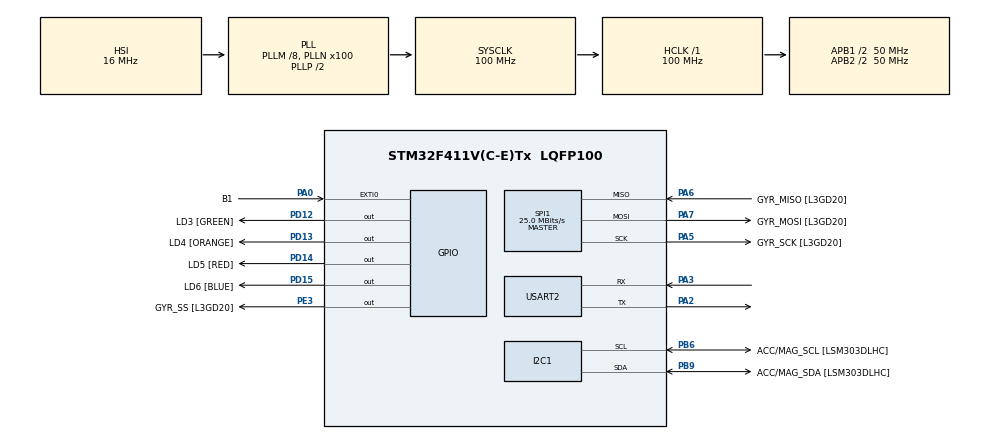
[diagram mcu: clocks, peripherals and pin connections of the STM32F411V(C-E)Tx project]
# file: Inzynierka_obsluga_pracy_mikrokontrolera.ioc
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I2C1.I2C_Mode=I2C_Fast
Mcu.Family=STM32F4
Mcu.Name=STM32F411V(C-E)Tx
Mcu.Package=LQFP100
NVIC.PriorityGroup=NVIC_PRIORITYGROUP_0
NVIC.TIM1_TRG_COM_TIM11_IRQn=true\:0\:0\:false\:false\:true\:true\:true
NVIC.USART2_IRQn=true\:0\:0\:false\:false\:true\:true\:true
PA0-WKUP.GPIO_Label=B1
PA0-WKUP.GPIO_ModeDefaultEXTI=GPIO_MODE_IT_RISING_FALLING
PA0-WKUP.Signal=GPXTI0
PA2.Mode=Asynchronous
PA2.Signal=USART2_TX
PA3.Mode=Asynchronous
PA3.Signal=USART2_RX
PA5.GPIO_Label=GYR_SCK [L3GD20]
PA5.Mode=Full_Duplex_Master
PA5.Signal=SPI1_SCK
PA6.GPIO_Label=GYR_MISO [L3GD20]
PA6.Mode=Full_Duplex_Master
PA6.Signal=SPI1_MISO
PA7.GPIO_Label=GYR_MOSI [L3GD20]
PA7.Mode=Full_Duplex_Master
PA7.Signal=SPI1_MOSI
PB6.GPIO_Label=ACC/MAG_SCL [LSM303DLHC]
PB6.Mode=I2C
PB6.Signal=I2C1_SCL
PB9.GPIO_Label=ACC/MAG_SDA [LSM303DLHC]
PB9.Mode=I2C
PB9.Signal=I2C1_SDA
PC14-OSC32_IN.Mode=LSE-External-Oscillator
PC14-OSC32_IN.Signal=RCC_OSC32_IN
PC15-OSC32_OUT.Mode=LSE-External-Oscillator
PC15-OSC32_OUT.Signal=RCC_OSC32_OUT
PD12.GPIO_Label=LD3 [GREEN]
PD12.Signal=GPIO_Output
PD13.GPIO_Label=LD4 [ORANGE]
PD13.Signal=GPIO_Output
PD14.GPIO_Label=LD5 [RED]
PD14.Signal=GPIO_Output
PD15.GPIO_Label=LD6 [BLUE]
PD15.Signal=GPIO_Output
PE3.GPIO_Label=GYR_SS [L3GD20]
PE3.Signal=GPIO_Output
PH0\ -\ OSC_IN.Mode=HSE-External-Clock-Source
PH0\ -\ OSC_IN.Signal=RCC_OSC_IN
PH1\ -\ OSC_OUT.Mode=HSE-External-Clock-Source
PH1\ -\ OSC_OUT.Signal=RCC_OSC_OUT
ProjectManager.HeapSize=0x200
ProjectManager.StackSize=0x400
ProjectManager.TargetToolchain=STM32CubeIDE
RCC.48MHZClocksFreq_Value=25000000
RCC.AHBFreq_Value=100000000
RCC.APB1CLKDivider=RCC_HCLK_DIV2
RCC.APB1Freq_Value=50000000
RCC.APB1TimFreq_Value=100000000
RCC.APB2CLKDivider=RCC_HCLK_DIV2
RCC.APB2Freq_Value=50000000
RCC.APB2TimFreq_Value=100000000
RCC.CortexFreq_Value=100000000
RCC.HCLKFreq_Value=100000000
RCC.HSE_VALUE=8000000
RCC.HSI_VALUE=16000000
RCC.PLLI2SM=5
RCC.PLLI2SN=200
RCC.PLLM=8
RCC.PLLN=100
RCC.PLLQ=8
RCC.SYSCLKFreq_VALUE=100000000
RCC.SYSCLKSource=RCC_SYSCLKSOURCE_PLLCLK
RCC.VCOOutputFreq_Value=200000000
SPI1.CalculateBaudRate=25.0 MBits/s
SPI1.Direction=SPI_DIRECTION_2LINES
SPI1.Mode=SPI_MODE_MASTER
SPI1.VirtualType=VM_MASTER
TIM11.Period=199
TIM11.Prescaler=9999
USART2.VirtualMode=VM_ASYNC
VP_TIM11_VS_ClockSourceINT.Mode=Enable_Timer
board=STM32F411E-DISCO

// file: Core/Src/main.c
/* USER CODE BEGIN Header */
/**
  ******************************************************************************
  * @file           : main.c
  * @brief          : Main program body
  ******************************************************************************
  * @attention
  *
  * <h2><center>&copy; Copyright (c) 2020 STMicroelectronics.
  * All rights reserved.</center></h2>
  *
  * This software component is licensed by ST under BSD 3-Clause license,
  * the "License"; You may not use this file except in compliance with the
  * License. You may obtain a copy of the License at:
  *                        opensource.org/licenses/BSD-3-Clause
  *
  ******************************************************************************
  */
/* USER CODE END Header */
#include "main.h"
#include "i2c.h"
#include "spi.h"
#include "tim.h"
#include "usart.h"
#include "gpio.h"

/* USER CODE BEGIN Includes */
#include <stdio.h>
#include <limits.h>
#include <math.h>
#include <string.h>
/* USER CODE END Includes */

/* USER CODE BEGIN PD */

//ZYROSKOP
#define GYR_REG1_A 0x20
#define GYR_USTAWIENIA 0x0F
#define GYR_MULTIREAD 0x40
#define GYR_READ 0x80
#define GYR_SCZYTANIE_POCZATEK 0x28
#define GYR_WSZYSTKIE_OSIE (GYR_READ | GYR_MULTIREAD | GYR_SCZYTANIE_POCZATEK)

//AKCELEROMETR
#define ACC_USTAWIENIA 0x57
#define ACC_ADRES (0x19 << 1)
#define ACC_CTRL_REG1_A 0x20
#define ACC_CTRL_REG4_A 0x23
#define ACC_SCZYTANIE_POCZATEK 0x28
#define ACC_MULTI_READ 0x80
#define ACC_WSZYSTKIE_OSIE (ACC_MULTI_READ | ACC_SCZYTANIE_POCZATEK)
#define ACC_SET_4G 0x10

//MAGNETOMETR
#define MAG_ADRES 0x3C
#define MAG_CRB_REG 0x01
#define MAG_CRA_REG 0x00
#define MAG_MR_REG 0x02
#define MAG_ZAKRES 0x80
#define MAG_USTAWIENIA 0x00
#define MAG_SCZYTANIE_POCZATEK 0x03
#define MAG_WSZYSTKIE_OSIE (ACC_MULTI_READ | MAG_SCZYTANIE_POCZATEK)
#define MAG_CZESTOTLIWOSC 0x18

/* USER CODE END PD */

/* USER CODE BEGIN PV */
int8_t Wiadomosc[200]; // Zmienna pomocnicza sluzaca do przesylania informacji z mikrokontrolera do PC
int16_t Rozmiar; // Zmienna pomocnicza przechowujaca rozmiar przesylanej informacji
uint8_t Dane[6]; // Tablica pomocnicza do obslugi pobierania danych z urzadzen

float X_a = 0; // Zawiera przyspieszenie w osi OX w jednostce g - przyspieszenia ziemskiego
float Y_a = 0; // Zawiera przyspieszenie w osi OY w jednostce g - przyspieszenia ziemskiego
float Z_a = 0; // Zawiera przyspieszenie w osi OZ w jednostce g - przyspieszenia ziemskiego

float X_mem = 0; // Poprzednia wartość przyspieszenia w osi OX
float Y_mem = 0; // Poprzednia wartość przyspieszenia w osi OY
float Z_mem = 0; // Poprzednia wartość przyspieszenia w osi OZ

float X_roznica = 0; // Przechowywuje roznice przyspieszenia w osi OX
float Y_roznica = 0; // Przechowywuje roznice przyspieszenia w osi OY
float Z_roznica = 0; // Przechowywuje roznice przyspieszenia w osi OZ

float X_m = 0; // Zawiera pole magnetyczne w osi OX w jednostce G - gauss
float Y_m = 0; // Zawiera pole magnetyczne w osi OY w jednostce G - gauss
float Z_m = 0; // Zawiera pole magnetyczne w osi OZ w jednostce G - gauss

float X_g = 0; // Zawiera predkosc katowa w osi OX w stopniach
float Y_g = 0; // Zawiera predkosc katowa w osi OY w stopniach
float Z_g = 0; // Zawiera predkosc katowa w osi OZ w stopniach

/* USER CODE END PV */

void SystemClock_Config(void);

/* USER CODE BEGIN 0 */
volatile int flaga = 0; //zmienna pomocnicza do obslugi przerwan z timera 11

void HAL_TIM_PeriodElapsedCallback (TIM_HandleTypeDef* htim)
{
/*
 * Reimplementacja HAL_TIM_PeriodElapsedCallback w celu uchwycenia
 * przerwania pochodzacego od timera nr 11
 */
	if(htim == &htim11){
		flaga = 1;
	}
}

void Setup_L3GD20(SPI_HandleTypeDef* spi){
/*
 * Komunikacje SPI z L3GD20 rozpoczynamy poprzez ustawienie
 * pinu GYR_SS w stan niski. Potem przesylamy do zyroskopu
 * informacje na temat rejestru, ktory chcemy edytowac, a nastepnie na temat
 * jego trybu pracy, z zakresem pomiarowy
 * na +-250 stopni. Na koniec zamykamy komunikacje poprzez ustawienie
 * pinu GYR_SS w stan wysoki.
 */
	uint8_t tmp;

	//Rozpoczecie komunikacji spi z zyroskopem
	HAL_GPIO_WritePin(GYR_SS_GPIO_Port, GYR_SS_Pin, GPIO_PIN_RESET);

	//Uruchomienie zyroskopu
	tmp = GYR_REG1_A;
	HAL_SPI_Transmit(spi, &tmp, 1, 100);

	//Zmiana zakresu pomiarow na +-250 stopni
	tmp = GYR_USTAWIENIA;
	HAL_SPI_Transmit(spi, &tmp, 1, 100);

	HAL_GPIO_WritePin(GYR_SS_GPIO_Port, GYR_SS_Pin, GPIO_PIN_SET);
	HAL_Delay(100);
}

void L3GD20_MultiRead(SPI_HandleTypeDef* spi){
/*
 * Odczytanie danych z wszystkich trzech osi przy pomocy protokolu
 * komunikacyjnego SPI omowionego w ramach funkcji Setup_L3GD20.
 */
	uint8_t tmp;

	//Rozpoczecie komunikacji spi z zyroskopem
	HAL_GPIO_WritePin(GYR_SS_GPIO_Port, GYR_SS_Pin, GPIO_PIN_RESET);

	//Sczytanie wartosci wskazan trzech osi na raz (6 bajtow = 3x(mlodszy i starszy bajt))
	tmp = GYR_WSZYSTKIE_OSIE; //Adres wraz z multireadem
	HAL_SPI_Transmit(spi, &tmp, 1, 100);
	HAL_SPI_Receive(spi, Dane, 6, 100); //Odebranie danych z zyroskopu

	//Zakonczenie komunikacji spi z zyroskopem
	HAL_GPIO_WritePin(GYR_SS_GPIO_Port, GYR_SS_Pin, GPIO_PIN_SET);
}

void Setup_AKCELEROMETR()
{
/*
 * Uruchomienie akcelerometru w trzech osiach, zmiana czestotliwosci jego dzialania na 100Hz,
 * zmiana zakresu pomiarowego z +-2g na +-4g - jednostek przyspieszenia ziemskiego
 */
	uint8_t tmp = ACC_USTAWIENIA;

	//AKCELEROMETR - aktywacja, 100Hz, osie XYZ
	HAL_I2C_Mem_Write(&hi2c1, ACC_ADRES, ACC_CTRL_REG1_A, 1, &tmp, 1, 100);

	//AKCELEROMETR - zmiana zakresu pomiarowego z +-2g na +-4g
	tmp = ACC_SET_4G;
	HAL_I2C_Mem_Write(&hi2c1, ACC_ADRES, ACC_CTRL_REG4_A, 1, &tmp, 1, 100);

}
void Setup_MAGNETOMETR(){
/*
 * Uruchomienie magnetometru w trybie ciaglej pracy,
 * zmiana czestotliwosci pracy na 75Hz, zmiana zakresu pomiarowego
 * na +-4G - gaus
 */

	uint8_t tmp= MAG_USTAWIENIA;

	//MAGNETOMETR - aktywacja - continous conversion mode
	HAL_I2C_Mem_Write(&hi2c1, MAG_ADRES, MAG_MR_REG, 1, &tmp, 1, 100);

	//MAGNETOMETR - czestotliwosc
	tmp = MAG_CZESTOTLIWOSC;
	HAL_I2C_Mem_Write(&hi2c1, MAG_ADRES, MAG_CRA_REG, 1, &tmp, 1, 100);

	//MAGNETOMETR - zakres pomiarowy +-4
	tmp = MAG_ZAKRES;
	HAL_I2C_Mem_Write(&hi2c1, MAG_ADRES, MAG_CRB_REG, 1, &tmp, 1, 100);
}

void Setup_LSM303DLHC(){
/*
 * Funkcja uruchamiajaca konfiguracje akcelerometru,
 * a nastepnie magnetometru
 */
	HAL_Delay(100);
	Setup_AKCELEROMETR();
	HAL_Delay(100);
	Setup_MAGNETOMETR();
	HAL_Delay(100);

}
/* USER CODE END 0 */

int main(void)
{

  /* MCU Configuration--------------------------------------------------------*/

  /* Reset of all peripherals, Initializes the Flash interface and the Systick. */
  HAL_Init();

  /* Configure the system clock */
  SystemClock_Config();

  /* Initialize all configured peripherals */
  MX_GPIO_Init();
  MX_I2C1_Init();
  MX_SPI1_Init();
  MX_TIM11_Init();
  MX_USART2_UART_Init();
  /* USER CODE BEGIN 2 */

  //AKCELEROMETR i MAGNETOMETR - setup
  Setup_LSM303DLHC();

  //ZYROSKOP - setup
  Setup_L3GD20(&hspi1);

  /* USER CODE END 2 */

  /* Infinite loop */
  /* USER CODE BEGIN WHILE */

  //TIM11 start - timer 50Hz
  HAL_TIM_Base_Start_IT(&htim11);
  while (1)
  {
	  /*
	   * Calosc programu wykonuje sie wtedy gdy nasz TIM11 wywolal przerwanie
	   * oraz zostal wcisniety przycisk B1.
	   * Podwojne wywolanie sprawdzenia wcisniecia przycisku w celu filtracji drgan przycisku
	   */
	   if (HAL_GPIO_ReadPin(B1_GPIO_Port, B1_Pin) == GPIO_PIN_SET) {

		   if (HAL_GPIO_ReadPin(B1_GPIO_Port, B1_Pin) == GPIO_PIN_SET) {

				   if (flaga == 1){
					   //Wywolanie odczytania danych z wszystkich trzech osi dla akcelerometru
					   HAL_I2C_Mem_Read(&hi2c1, ACC_ADRES, ACC_WSZYSTKIE_OSIE, 1, Dane, 6, 100);

					   //Zespolenie bajtu starszego i mlodszego, przetworzenie sczytanych danych
					   X_a = ((float)((int16_t)((Dane[1] << 8) | Dane[0])) * 4.0) / (float) INT16_MAX;
					   Y_a = ((float)((int16_t)((Dane[3] << 8) | Dane[2])) * 4.0) / (float) INT16_MAX;
					   Z_a = ((float)((int16_t)((Dane[5] << 8) | Dane[4])) * 4.0) / (float) INT16_MAX;

					   //Wywolanie odczytania danych z wszystkich trzech osi dla magnetometru
					   HAL_I2C_Mem_Read(&hi2c1, MAG_ADRES, MAG_WSZYSTKIE_OSIE, 1, Dane, 6, 100);

					   //Zespolenie bajtu starszego i mlodszego, przetworzenie sczytanych danych
					   X_m = ((float)((int16_t)((Dane[0] << 8) | Dane[1])) * 4.0)/(float) INT16_MAX;
					   Y_m = ((float)((int16_t)((Dane[2] << 8) | Dane[3])) * 4.0)/(float) INT16_MAX;
					   Z_m = ((float)((int16_t)((Dane[4] << 8) | Dane[5])) * 4.0)/(float) INT16_MAX;

					   //Wywolanie funkcji sczytujacej dane dla wszystkich osi dla zyroskopu
					   L3GD20_MultiRead(&hspi1);

					   //Zespolenie bajtu starszego i mlodszego, przetworzenie sczytanych danych
					   X_g = ((float)((int16_t)((Dane[1] << 8) | Dane[0])) * 250.0)/(float) INT16_MAX;
					   Y_g = ((float)((int16_t)((Dane[3] << 8) | Dane[2])) * 250.0)/(float) INT16_MAX;
					   Z_g = ((float)((int16_t)((Dane[5] << 8) | Dane[4])) * 250.0)/(float) INT16_MAX;

					   /*
						* Zapalenie diod w celu sprawdzenia poprawnosci dzialania programu, kolejno:
						* LD3 - dla osi OX
						* LD4 - dla osi OY
						* LD5 - dla osi OZ
						*/
					   X_roznica = fabs(X_mem - X_a);
					   Y_roznica = fabs(Y_mem - Y_a);
					   Z_roznica = fabs(Z_mem - Z_a);

					   if(X_roznica > 0.1)HAL_GPIO_TogglePin(LD3_GPIO_Port, LD3_Pin);
					   if(Y_roznica > 0.1)HAL_GPIO_TogglePin(LD4_GPIO_Port, LD4_Pin);
					   if(Z_roznica > 0.1)HAL_GPIO_TogglePin(LD5_GPIO_Port, LD5_Pin);

					   //Odczytanie rozmiaru wiadomosci oraz jej zapis do zmiennej wiadomosci
					   Rozmiar = sprintf((char *)Wiadomosc, "%f %f %f \n", X_g,Y_g,Z_g);

					   //Przeslanie wiadomosci poprzez UART2
					   HAL_UART_Transmit(&huart2, (uint8_t*) Wiadomosc,  Rozmiar, 100);

					   //Odczytanie rozmiaru wiadomosci oraz jej zapis do zmiennej wiadomosci
					   Rozmiar = sprintf((char *)Wiadomosc, "%f %f %f \n", X_a,Y_a,Z_a);

					   //Przeslanie wiadomosci poprzez UART2
					   HAL_UART_Transmit(&huart2, (uint8_t*) Wiadomosc,  Rozmiar, 100);

					   //Odczytanie rozmiaru wiadomosci oraz jej zapis do zmiennej wiadomosci
					   Rozmiar = sprintf((char *)Wiadomosc, "%f %f %f \n", X_m,Y_m,Z_m);

					   //Przeslanie wiadomosci poprzez UART2
					   HAL_UART_Transmit(&huart2, (uint8_t*) Wiadomosc,  Rozmiar, 100);

					   /*
					    * Zapis pomirow w pamieci dla nastepnego powtorzenia petli programu
					    * oraz zresetowanie flagi poprzez wyzerowanie jej wartosci
					    */
					   X_mem = X_a;
					   Y_mem = Y_a;
					   Z_mem = Z_a;

					   flaga = 0;

				   }
		   	   }
		   }
    /* USER CODE END WHILE */

  }
}

void SystemClock_Config(void)
{
  RCC_OscInitTypeDef RCC_OscInitStruct = {0};
  RCC_ClkInitTypeDef RCC_ClkInitStruct = {0};

  /** Configure the main internal regulator output voltage
  */
  __HAL_RCC_PWR_CLK_ENABLE();
  __HAL_PWR_VOLTAGESCALING_CONFIG(PWR_REGULATOR_VOLTAGE_SCALE1);
  /** Initializes the RCC Oscillators according to the specified parameters
  * in the RCC_OscInitTypeDef structure.
  */
  RCC_OscInitStruct.OscillatorType = RCC_OSCILLATORTYPE_HSI;
  RCC_OscInitStruct.HSIState = RCC_HSI_ON;
  RCC_OscInitStruct.HSICalibrationValue = RCC_HSICALIBRATION_DEFAULT;
  RCC_OscInitStruct.PLL.PLLState = RCC_PLL_ON;
  RCC_OscInitStruct.PLL.PLLSource = RCC_PLLSOURCE_HSI;
  RCC_OscInitStruct.PLL.PLLM = 8;
  RCC_OscInitStruct.PLL.PLLN = 100;
  RCC_OscInitStruct.PLL.PLLP = RCC_PLLP_DIV2;
  RCC_OscInitStruct.PLL.PLLQ = 8;
  if (HAL_RCC_OscConfig(&RCC_OscInitStruct) != HAL_OK)
  {
    Error_Handler();
  }
  /** Initializes the CPU, AHB and APB buses clocks
  */
  RCC_ClkInitStruct.ClockType = RCC_CLOCKTYPE_HCLK|RCC_CLOCKTYPE_SYSCLK
                              |RCC_CLOCKTYPE_PCLK1|RCC_CLOCKTYPE_PCLK2;
  RCC_ClkInitStruct.SYSCLKSource = RCC_SYSCLKSOURCE_PLLCLK;
  RCC_ClkInitStruct.AHBCLKDivider = RCC_SYSCLK_DIV1;
  RCC_ClkInitStruct.APB1CLKDivider = RCC_HCLK_DIV2;
  RCC_ClkInitStruct.APB2CLKDivider = RCC_HCLK_DIV2;

  if (HAL_RCC_ClockConfig(&RCC_ClkInitStruct, FLASH_LATENCY_3) != HAL_OK)
  {
    Error_Handler();
  }
}

void Error_Handler(void)
{
}

/************************ (C) COPYRIGHT STMicroelectronics *****END OF FILE****/
